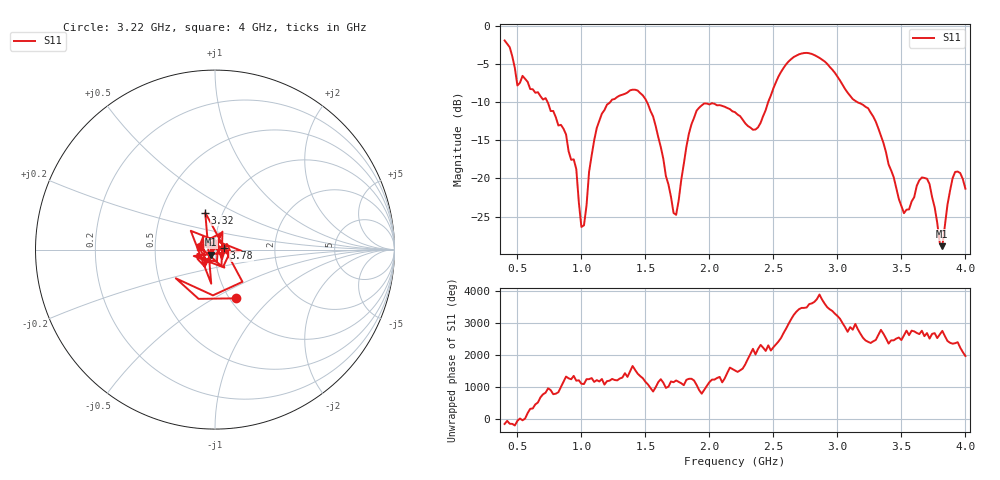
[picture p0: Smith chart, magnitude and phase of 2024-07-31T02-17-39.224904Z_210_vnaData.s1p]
!Created with skrf (http://scikit-rf.org).
# Hz S RI R 50.0
!freq ReS11 ImS11
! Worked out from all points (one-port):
!   181 points, 400 MHz to 4 GHz, reference 50 ohm
!   lowest |S11| = -28.9 dB at 3.82 GHz (marker M1), VSWR 1.07, Z = 47.8 - j2.73 ohm
!   |S11| at or under -10 dB: 736.8 MHz to 1.223 GHz (486.6 MHz wide, 49.7 % of centre); 1.513 GHz to 2.459 GHz (945.6 MHz wide, 47.6 % of centre); 3.158 GHz to end of sweep
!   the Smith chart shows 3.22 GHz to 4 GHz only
!   S11 on the Smith chart (normalised r, x): 3.22 GHz: 1.07, -0.64; 3.32 GHz: 0.83, +0.36; 3.78 GHz: 1.11, +0.02; 4 GHz: 0.84, +0.03
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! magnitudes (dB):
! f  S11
! 400 MHz  -1.9
! 500 MHz  -7.8
! 860 MHz  -13.5
! 960 MHz  -18.8
! 1 GHz  -26.4
! 1.02 GHz  -26.1
! 1.12 GHz  -13.4
! 1.3 GHz  -9.1
! 1.5 GHz  -9.6
! 1.58 GHz  -13.1
! 1.72 GHz  -24.5
! 1.76 GHz  -22.9
! 1.84 GHz  -14.1
! 1.9 GHz  -11.1
! 2.2 GHz  -11.3
! 2.38 GHz  -13.3
! 2.66 GHz  -4.0
! 2.9 GHz  -4.6
! 3.1 GHz  -9.2
! 3.22 GHz  -10.6
! 3.32 GHz  -13.4
! 3.52 GHz  -24.6
! 3.56 GHz  -24.1
! 3.7 GHz  -20.0
! 3.78 GHz  -25.8
! 3.82 GHz  -28.9
! 3.9 GHz  -20.0
! 4 GHz  -21.3
